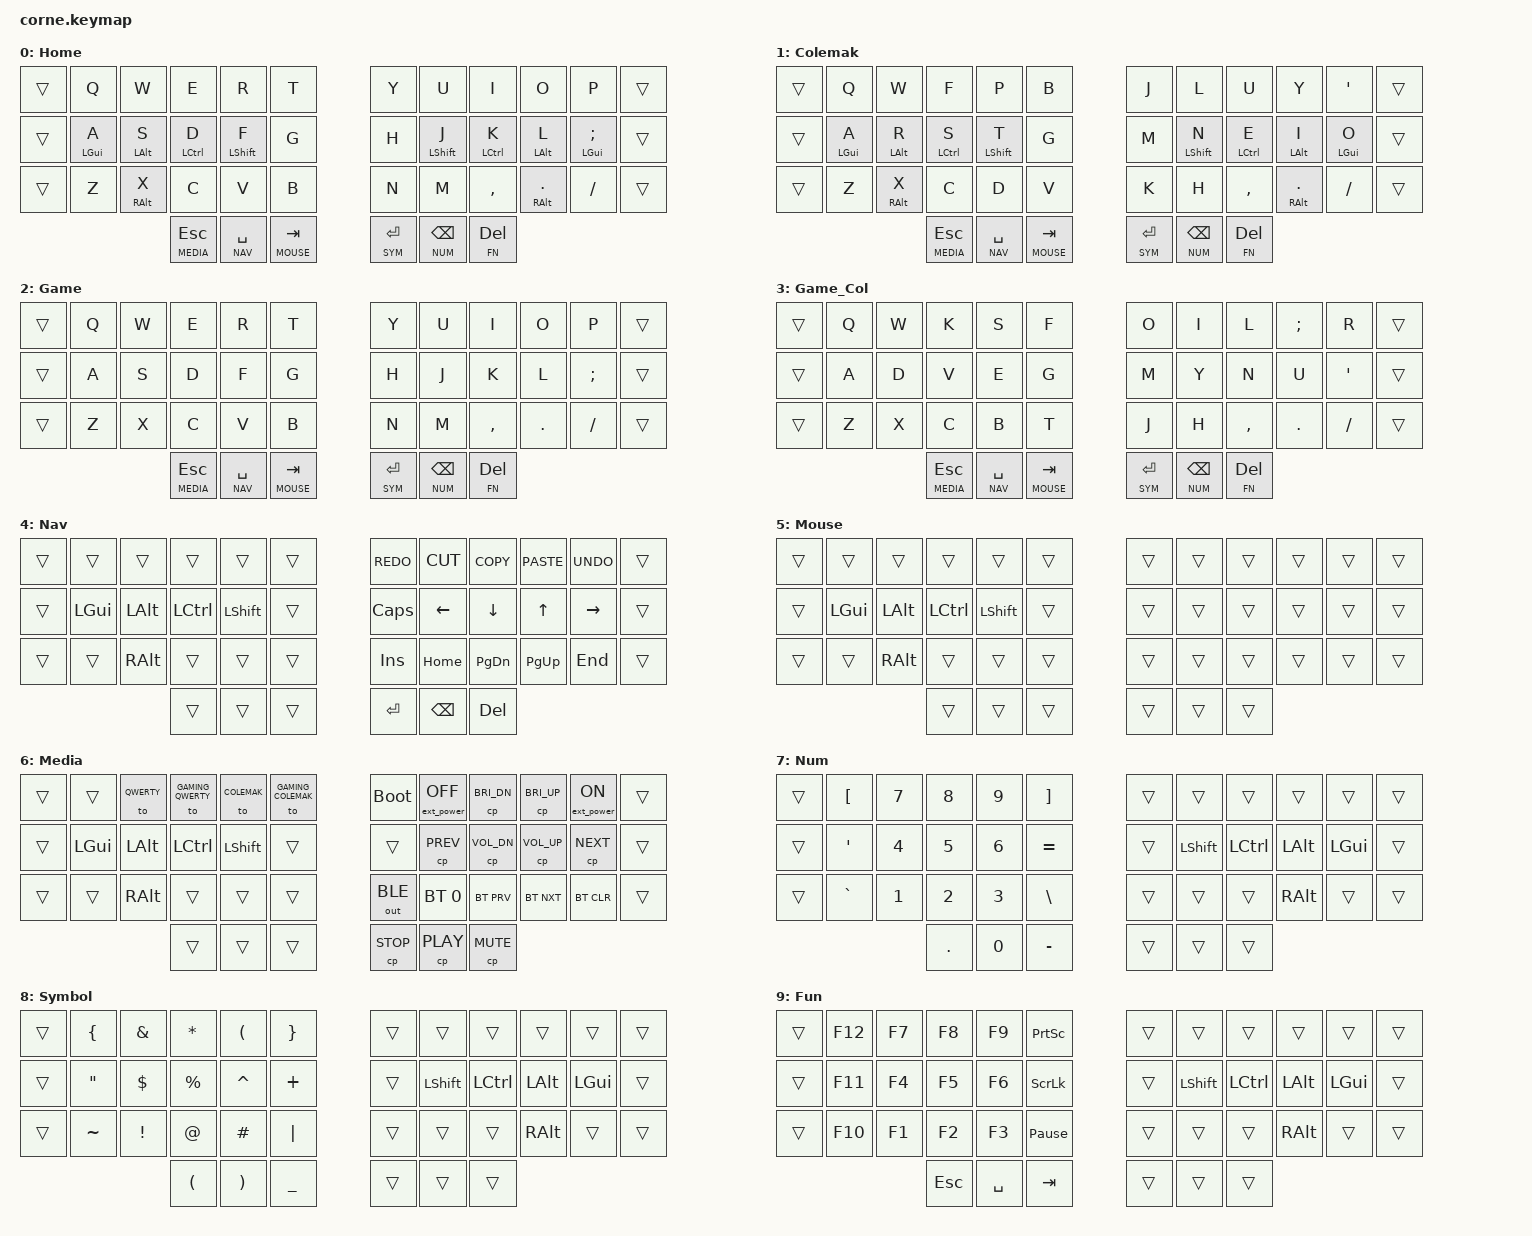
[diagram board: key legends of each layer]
#include <behaviors.dtsi>
#include <dt-bindings/zmk/keys.h>
#include <dt-bindings/zmk/bt.h>
#include <dt-bindings/zmk/ext_power.h>
#include <dt-bindings/zmk/outputs.h>

// Layers Definitions
#define QWERTY 0
#define COLEMAK 1
#define GAMING_QWERTY 2
#define GAMING_COLEMAK 3
#define NAV 4
#define MOUSE 5
#define MEDIA 6
#define NUM 7
#define SYM 8
#define FN 9

&nice_view_spi {
    cs-gpios = <&pro_micro 0 GPIO_ACTIVE_HIGH>;
};

// Behavior configuration
&mt {
    tapping-term-ms = <200>;
    quick_tap_ms = <0>;
    flavor = "tap-preferred";
};
&lt {
    tapping-term-ms = <200>;
    quick_tap_ms = <0>;
    flavor = "tap-preferred";
};
&sk {
    release-after-ms = <500>;
    quick-release;
};

// Keymap configuration (Colemak-DHm)
/ {
    keymap {
        compatible = "zmk,keymap";

        qwerty {
            label = "Home";
// -----------------------------------------------------------------------------------------------------------------------------
// |        |   Q    |   W    |     F     |     P     |     B     | # |     J     |    L     |    U    |    Y   |   '    |     |
// |        | A/LGUI | R/LALT |  S/LCTRL  |  T/LSHFT  |     G     | # |     M     | N/LSHFT  | E/LCTRL | I/LALT | O/LGUI |     |
// |        |   Z    | X/RALT |     C     |     D     |     V     | # |     K     |    H     |    ,    | ./RALT |   /    |     |
//                            | ESC/MEDIA | SPACE/NAV | TAB/MOUSE | # | RETURN/SYM | BACKSPACE/NUM | DEL/FN  |

            bindings = <
&trans      &kp Q       &kp W       &kp E          &kp R          &kp T                &kp Y          &kp U         &kp I          &kp O         &kp P          &trans
&trans  &mt LGUI A  &mt LALT S  &mt LCTRL D    &mt LSHFT F    &kp G                &kp H          &mt LSHFT J   &mt LCTRL K    &mt LALT L    &mt LGUI SEMI  &trans
&trans      &kp Z       &mt RALT X  &kp C          &kp V          &kp B                &kp N          &kp M         &kp COMMA       &mt RALT DOT  &kp FSLH       &trans
                                    &lt MEDIA ESC  &lt NAV SPACE  &lt MOUSE TAB        &lt SYM RETURN  &lt NUM BACKSPACE  &lt FN DEL
            >;
        };

        colemak {
            label = "Colemak";
// -----------------------------------------------------------------------------------------------------------------------------
// |        |   Q    |   W    |     E     |     R     |     T     | # |     Y     |     U    |    I    |    O   |   P    |     |
// |        | A/LGUI | S/LALT |  D/LCTRL  |  F/LSHFT  |     G     | # |     H     | J/LSHFT  | K/LCTRR | L/LALT | ;/LGUI |     |
// |        |   Z    | X/RALT |     C     |     V     |     B     | # |     N     |     M    |    ,    | ./RALT |   /    |     |
//                            | ESC/MEDIA | SPACE/NAV | TAB/MOUSE | # | RETURN/SYM | BACKSPACE/NUM | DEL/FN  |

            bindings = <
&trans      &kp Q       &kp W       &kp F          &kp P          &kp B                &kp J          &kp L         &kp U          &kp Y         &kp SQT     &trans
&trans  &mt LGUI A  &mt LALT R  &mt LCTRL S    &mt LSHFT T    &kp G                &kp M          &mt LSHFT N   &mt LCTRL E    &mt LALT I    &mt LGUI O  &trans
&trans      &kp Z       &mt RALT X  &kp C          &kp D          &kp V                &kp K          &kp H         &kp COMMA       &mt RALT DOT  &kp FSLH    &trans
                                    &lt MEDIA ESC  &lt NAV SPACE  &lt MOUSE TAB        &lt SYM RETURN  &lt NUM BACKSPACE  &lt FN DEL
            >;
        };

        gaming_qwerty {
            label = "Game";
// ----------------------------------------------------------------------------------------------------
// |        |   Q   |   W   |   F   |   P   |   B   | # |   J   |   L   |   U   |   Y   |   '   |     |
// |        |   A   |   R   |   S   |   T   |   G   | # |   M   |   N   |   E   |   I   |   O   |     |
// |        |   Z   |   X   |   C   |   D   |   V   | # |   K   |   H   |   ,   |   .   |   /   |     |
//                          |  ESC  | SPACE |  TAB  | # | RETURN | BACKSPACE  |  DEL  |

            bindings = <
&trans      &kp Q  &kp W  &kp E    &kp R      &kp T          &kp Y      &kp U     &kp I     &kp O    &kp P     &trans
&trans  &kp A  &kp S  &kp D    &kp F      &kp G          &kp H      &kp J     &kp K     &kp L    &kp SEMI  &trans
&trans      &kp Z  &kp X  &kp C    &kp V      &kp B          &kp N      &kp M     &kp COMMA  &kp DOT  &kp FSLH  &trans
                            &lt MEDIA ESC  &lt NAV SPACE  &lt MOUSE TAB        &lt SYM RETURN  &lt NUM BACKSPACE  &lt FN DEL                          
            >;
        };

        gaming_colemak {
            label = "Game_Col";

// ----------------------------------------------------------------------------------------------------
// |        |   Q   |   W   |   E   |   R   |   T   | # |   Y   |   U   |   I   |   O   |   P   |     |
// |        |   A   |   S   |   D   |   F   |   G   | # |   H   |   J   |   K   |   L   |   ;   |     |
// |        |   Z   |   X   |   C   |   V   |   B   | # |   N   |   M   |   ,   |   .   |   /   |     |
//                          |  ESC  | SPACE |  TAB  | # | RETURN | BACKSPACE  |  DEL  |

            bindings = <
&trans      &kp Q  &kp W  &kp K    &kp S      &kp F          &kp O      &kp I     &kp L     &kp SEMI  &kp R     &trans
&trans  &kp A  &kp D  &kp V    &kp E      &kp G          &kp M      &kp Y     &kp N     &kp U     &kp SQT   &trans
&trans      &kp Z  &kp X  &kp C    &kp B      &kp T          &kp J      &kp H     &kp COMMA  &kp DOT   &kp FSLH  &trans
                        &lt MEDIA ESC  &lt NAV SPACE  &lt MOUSE TAB        &lt SYM RETURN  &lt NUM BACKSPACE  &lt FN DEL            >;
        };

        navigation {
            label = "Nav";
// -------------------------------------------------------------------------------------------
// |     |      |      |       |       |     | # | REDO  | CUT  | COPY | PASTE | UNDO  |     |
// |     | LGUI | LALT | LCTRL | LSHFT |     | # | CAPS  | LEFT | DOWN | UP    | RIGHT |     |
// |     |      | RALT |       |       |     | # | INS   | HOME | PGDN | PGUP  | END   |     |
//                     |       | HELD  |     | # | RETURN | BACKSPACE | DEL  |

            bindings = <
&trans  &trans    &trans    &trans     &trans     &trans        &kp K_REDO    &kp K_CUT  &kp K_COPY  &kp K_PASTE  &kp K_UNDO  &trans
&trans  &kp LGUI  &kp LALT  &kp LCTRL  &kp LSHFT  &trans        &kp CAPSLOCK  &kp LEFT   &kp DOWN    &kp UP       &kp RIGHT   &trans
&trans  &trans    &kp RALT  &trans     &trans     &trans        &kp INS       &kp HOME   &kp PG_DN   &kp PG_UP    &kp END     &trans
                            &trans     &trans     &trans        &kp RETURN     &kp BACKSPACE   &kp DEL
            >;
        };

// TODO
// Add mouse keys when implemented in ZMK

        mouse {
            label = "Mouse";        
// ------------------------------------------------------------------------------------
// |     |      |      |       |       |      | # |     |     |     |     |     |     |
// |     | LGUI | LALT | LCTRL | LSHFT |      | # |     |     |     |     |     |     |
// |     |      | RALT |       |       |      | # |     |     |     |     |     |     |
//                     |       |       | HELD | # |     |     |     |

            bindings = <
&trans  &trans    &trans    &trans     &trans     &trans        &trans  &trans  &trans  &trans  &trans  &trans
&trans  &kp LGUI  &kp LALT  &kp LCTRL  &kp LSHFT  &trans        &trans  &trans  &trans  &trans  &trans  &trans
&trans  &trans    &kp RALT  &trans     &trans     &trans        &trans  &trans  &trans  &trans  &trans  &trans
                            &trans     &trans     &trans        &trans  &trans  &trans
            >;
        };

        media {
            label = "Media";
// -----------------------------------------------------------------------------------------------------
// |     |      | QWERTY | G_QWERTY | COLEM | G_COLEM | # | BOOTLOAD | EP_OFF | BR_D   | BR_U   | EP_ON  |     |
// |     | LGUI | LALT   | LCTRL    | LSHFT |         | # | trans    | PREV   | VOL_D  | VOL_U  | NEXT   |     |
// |     |      | RALT   |          |       |         | # | OUT_BLE  | BT_0   | BT_PRV | BT_NXT | BT_CLR |     |
//                       | HELD     |       |         | # | STOP     | PLAY   | MUTE   |

            bindings = <            
&trans  &trans    &to QWERTY  &to GAMING_QWERTY  &to COLEMAK  &to GAMING_COLEMAK        &bootloader   &ext_power EP_OFF  &cp C_BRI_DN  &cp C_BRI_UP  &ext_power EP_ON  &trans
&trans  &kp LGUI  &kp LALT    &kp LCTRL          &kp LSHFT    &trans                    &trans        &cp C_PREV         &cp C_VOL_DN  &cp C_VOL_UP  &cp C_NEXT        &trans
&trans  &trans    &kp RALT    &trans             &trans       &trans                    &out OUT_BLE  &bt BT_SEL 0       &bt BT_PRV    &bt BT_NXT    &bt BT_CLR        &trans
                              &trans             &trans       &trans                    &cp C_STOP    &cp C_PLAY         &cp C_MUTE
            >;
        };

        numbers {
            label = "Num";
// -----------------------------------------------------------------------------------
// |     |  [  |  7  |  8  |  9  |  ]  | # |     |       |       |      |      |     |
// |     |  ;  |  4  |  5  |  6  |  =  | # |     | LSHFT | LCTRL | LALT | LGUI |     |
// |     |  `  |  1  |  2  |  3  |  \  | # |     |       |       | RALT |      |     |
//                   |  .  |  0  |  -  | # |     | HELD  |       |

            bindings = <
&trans  &kp LBKT   &kp N7  &kp N8   &kp N9  &kp RBKT         &trans  &trans     &trans     &trans    &trans    &trans
&trans  &kp SQT    &kp N4  &kp N5   &kp N6  &kp EQUAL        &trans  &kp LSHFT  &kp LCTRL  &kp LALT  &kp LGUI  &trans
&trans  &kp GRAVE  &kp N1  &kp N2   &kp N3  &kp BSLH         &trans  &trans     &trans     &kp RALT  &trans    &trans
                           &kp DOT  &kp N0  &kp MINUS        &trans  &trans     &trans
            >;
        };

        symbols {
            label = "Symbol";
// ------------------------------------------------------------------------------------
// |     |  {  |  &  |  *  |  (  |  }  | # |      |       |       |      |      |     |
// |     |  :  |  $  |  %  |  ^  |  +  | # |      | LSHFT | LCTRL | LALT | LGUI |     |
// |     |  ~  |  !  |  @  |  #  |  |  | # |      |       |       | RALT |      |     |
//                   |  (  |  )  |  _  | # | HELD |       |       |

            bindings = <
&trans  &kp LBRC   &kp AMPS  &kp ASTRK  &kp LPAR   &kp RBRC              &trans  &trans     &trans     &trans    &trans    &trans
&trans  &kp DQT    &kp DLLR  &kp PRCNT  &kp CARET  &kp PLUS              &trans  &kp LSHFT  &kp LCTRL  &kp LALT  &kp LGUI  &trans
&trans  &kp TILDE  &kp EXCL  &kp AT     &kp HASH   &kp PIPE              &trans  &trans     &trans     &kp RALT  &trans    &trans
                             &kp LPAR   &kp RPAR   &kp UNDERSCORE        &trans  &trans     &trans
            >;
        };

        function {
            label = "Fun";
// ------------------------------------------------------------------------------------------
// |     |  F12 |  F7  |  F8  |  F9   | PSCRN | # |     |       |       |      |      |     |
// |     |  F11 |  F4  |  F5  |  F6   | SLCK  | # |     | LSHFT | LCTRL | LALT | LGUI |     |
// |     |  F10 |  F1  |  F2  |  F3   | PAUSE | # |     |       |       | RALT |      |     |
//                     | ESC  | SPACE |  TAB  | # |     |       | HELD  |

            bindings = <
&trans  &kp F12  &kp F7  &kp F8   &kp F9     &kp PSCRN              &trans  &trans     &trans     &trans    &trans    &trans
&trans  &kp F11  &kp F4  &kp F5   &kp F6     &kp SLCK               &trans  &kp LSHFT  &kp LCTRL  &kp LALT  &kp LGUI  &trans
&trans  &kp F10  &kp F1  &kp F2   &kp F3     &kp PAUSE_BREAK        &trans  &trans     &trans     &kp RALT  &trans    &trans
                         &kp ESC  &kp SPACE  &kp TAB                &trans  &trans     &trans
            >;
        };
    };
};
